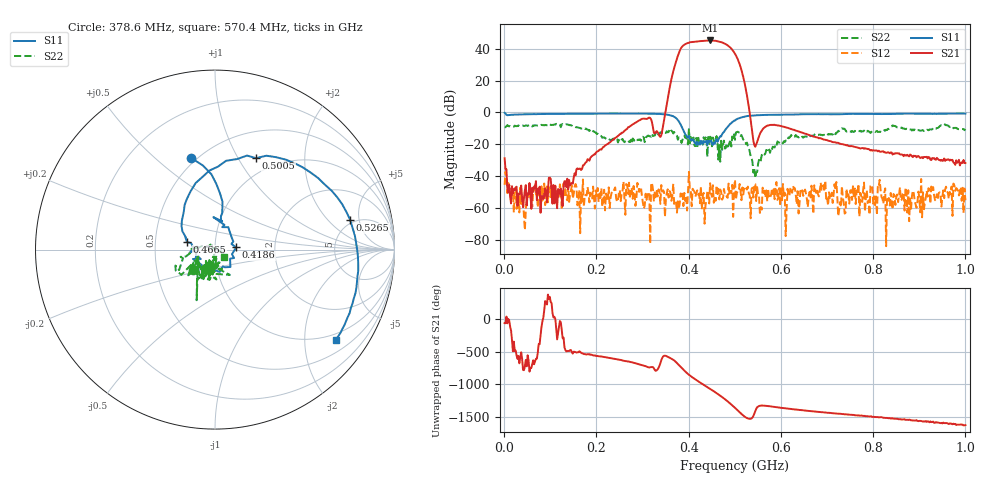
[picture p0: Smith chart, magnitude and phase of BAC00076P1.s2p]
!measured: 2026-10-27T15:00:18
!cal_instance: BBtestOct27
!cal_created: 2026-10-27T14:45
!cal_file: BBtesting.cal
!port1_delay_ps: -58.63
!port2_delay_ps: -59.31
!host: dhcp-10-250-247-203.harvard.edu
! Created with skrf 2.1.0 (http://scikit-rf.org).
# Hz S RI R 50.0
!freq ReS11 ImS11 ReS21 ImS21 ReS12 ImS12 ReS22 ImS22
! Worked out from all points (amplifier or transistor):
!   501 points, 1 MHz to 1 GHz, reference 50 ohm
!   highest |S21| = 45.2 dB at 446.6 MHz (marker M1)
!   |S21| within 3 dB of that: 389.1 MHz to 484.2 MHz (95.1 MHz wide, 21.8 % of centre)
!   unconditionally stable (mu >= 1): start of sweep to 399.8 MHz; 401.7 MHz to 446.3 MHz; 500.7 MHz to end of sweep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
!   at 166.8 MHz: K = 1612.86, MAG = -28.1 dB, |S12| = -50.2 dB
!   at 500.5 MHz: K = 0.92, MSG = 39.6 dB, |S12| = -42.2 dB
!   at 1 GHz: K = 1477.54, MAG = -23.0 dB, |S12| = -55.1 dB
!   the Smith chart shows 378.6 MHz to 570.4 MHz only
!   S11 on the Smith chart (normalised r, x): 378.6 MHz: 0.47, +0.66; 418.6 MHz: 1.27, +0.03; 466.5 MHz: 0.73, +0.06; 500.5 MHz: 0.80, +1.19; 526.5 MHz: 4.57, +3.74; 570.4 MHz: 0.81, -2.79
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1000000  -0.3505 0.9186  0.0156 -0.033  0.00156 0.00509  0.3416 0.0205
1.68832e8  0.4987 -0.7603  -0.0163 -0.00372  -0.00108 0.00117  -0.0289 -0.3136
3.34666e8  -0.8301 -0.3556  0.1831 -0.1119  -0.00327 -0.002  0.0467 -0.2069
3.66634e8  -0.6121 0.4508  -1.25 19.58  -0.00516 -0.00256  -0.0926 -0.1985
3.78622e8  -0.1337 0.5111  70.38 18.11  -0.000927 0.000167  -0.1217 -0.1112
3.86614e8  0.0292 0.3092  87.11 -82.8  0.00184 0.00238  -0.1187 -0.0667
3.96604e8  0.0334 0.165  -54.89 -139.2  -0.000716 0.000427  -0.1105 -0.0838
4.06594e8  0.0564 0.125  -159 -35.06  0.000193 0.00112  -0.0749 -0.1068
4.18582e8  0.118 0.0125  -117.1 122.9  0.00355 -0.000412  -0.0505 -0.0628
4.32568e8  0.0264 -0.1243  57.91 166.8  0.00297 0.000294  0.00829 -0.1667
4.46554e8  -0.1226 -0.0522  180.9 27.19  0.00178 -0.00572  -0.1433 -0.0967
4.54546e8  -0.1062 -0.0356  158.5 -85.49  -0.000657 0.00131  -0.0232 -0.1336
4.66534e8  -0.157 0.0424  10.93 -168.8  0.00157 0.000997  -0.0319 -0.0885
4.82518e8  -0.1566 0.2823  -132.3 -21.63  -0.00215 -0.000771  -0.0266 -0.1009
4.92508e8  0.0161 0.462  -65.58 77.5  -0.00118 -0.00269  -0.0416 -0.0748
5.005e8  0.228 0.5096  13.8 68.29  0.0049 -0.00596  -0.1195 -0.0709
5.12488e8  0.5367 0.4266  26.97 -1.151  -0.000651 0.00352  -0.1783 -0.0487
5.26474e8  0.7528 0.1661  0.7056 -3.336  0.000709 -0.00374  -0.1109 0.0208
5.7043e8  0.6733 -0.5038  -0.1152 0.3696  -0.0014 -0.000806  0.0506 -0.0424
6.68332e8  0.07 -0.8807  0.1634 0.0786  -0.00143 -0.00144  0.0255 -0.1857
8.34166e8  -0.5833 -0.6814  0.00921 -0.0542  -0.00203 -0.000346  -0.1899 -0.2393
1e9  -0.8824 -0.2729  -0.0257 0.00286  0.00043 0.0017  -0.2562 -0.1594
